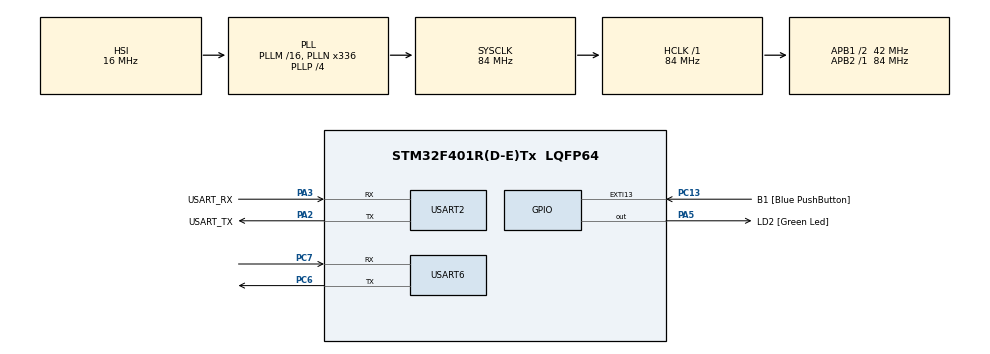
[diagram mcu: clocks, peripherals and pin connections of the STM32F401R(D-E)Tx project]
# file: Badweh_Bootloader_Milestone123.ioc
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Mcu.Family=STM32F4
Mcu.Name=STM32F401R(D-E)Tx
Mcu.Package=LQFP64
NVIC.PriorityGroup=NVIC_PRIORITYGROUP_4
PA13.GPIO_Label=TMS
PA13.Mode=Trace_Asynchronous_SW
PA13.Signal=SYS_JTMS-SWDIO
PA14.GPIO_Label=TCK
PA14.Mode=Trace_Asynchronous_SW
PA14.Signal=SYS_JTCK-SWCLK
PA2.GPIO_Label=USART_TX
PA2.GPIO_Mode=GPIO_MODE_AF_PP
PA2.GPIO_PuPd=GPIO_NOPULL
PA2.GPIO_Speed=GPIO_SPEED_FREQ_LOW
PA2.Mode=Asynchronous
PA2.Signal=USART2_TX
PA3.GPIO_Label=USART_RX
PA3.GPIO_Mode=GPIO_MODE_AF_PP
PA3.GPIO_PuPd=GPIO_NOPULL
PA3.GPIO_Speed=GPIO_SPEED_FREQ_LOW
PA3.Mode=Asynchronous
PA3.Signal=USART2_RX
PA5.GPIO_Label=LD2 [Green Led]
PA5.GPIO_Mode=GPIO_MODE_OUTPUT_PP
PA5.GPIO_PuPd=GPIO_NOPULL
PA5.GPIO_Speed=GPIO_SPEED_FREQ_LOW
PA5.Signal=GPIO_Output
PB3.GPIO_Label=SWO
PB3.Mode=Trace_Asynchronous_SW
PB3.Signal=SYS_JTDO-SWO
PC13-ANTI_TAMP.GPIO_Label=B1 [Blue PushButton]
PC13-ANTI_TAMP.GPIO_ModeDefaultEXTI=GPIO_MODE_IT_FALLING
PC13-ANTI_TAMP.GPIO_PuPd=GPIO_NOPULL
PC13-ANTI_TAMP.Signal=GPXTI13
PC14-OSC32_IN.Mode=LSE-External-Oscillator
PC14-OSC32_IN.Signal=RCC_OSC32_IN
PC15-OSC32_OUT.Mode=LSE-External-Oscillator
PC15-OSC32_OUT.Signal=RCC_OSC32_OUT
PC6.Mode=Asynchronous
PC6.Signal=USART6_TX
PC7.Mode=Asynchronous
PC7.Signal=USART6_RX
PH0\ -\ OSC_IN.Mode=HSE-External-Clock-Source
PH0\ -\ OSC_IN.Signal=RCC_OSC_IN
PH1\ -\ OSC_OUT.Mode=HSE-External-Clock-Source
PH1\ -\ OSC_OUT.Signal=RCC_OSC_OUT
ProjectManager.HeapSize=0x200
ProjectManager.StackSize=0x400
ProjectManager.TargetToolchain=STM32CubeIDE
RCC.48MHZClocksFreq_Value=48000000
RCC.AHBFreq_Value=84000000
RCC.APB1CLKDivider=RCC_HCLK_DIV2
RCC.APB1Freq_Value=42000000
RCC.APB1TimFreq_Value=84000000
RCC.APB2Freq_Value=84000000
RCC.APB2TimFreq_Value=84000000
RCC.CortexFreq_Value=84000000
RCC.HCLKFreq_Value=84000000
RCC.HSE_VALUE=8000000
RCC.HSI_VALUE=16000000
RCC.PLLN=336
RCC.PLLP=RCC_PLLP_DIV4
RCC.PLLQ=7
RCC.SYSCLKFreq_VALUE=84000000
RCC.SYSCLKSource=RCC_SYSCLKSOURCE_PLLCLK
RCC.VCOOutputFreq_Value=336000000
USART2.VirtualMode=VM_ASYNC
USART2.WordLength=WORDLENGTH_8B
USART6.VirtualMode=VM_ASYNC
VP_CRC_VS_CRC.Mode=CRC_Activate
board=NUCLEO-F401RE

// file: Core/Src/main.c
/* USER CODE BEGIN Header */
/**
  ******************************************************************************
  * @file           : main.c
  * @brief          : Main program body
  ******************************************************************************
  * @attention
  *
  * Copyright (c) 2026 STMicroelectronics.
  * All rights reserved.
  *
  * This software is licensed under terms that can be found in the LICENSE file
  * in the root directory of this software component.
  * If no LICENSE file comes with this software, it is provided AS-IS.
  *
  ******************************************************************************
  */
/* USER CODE END Header */
#include "main.h"

/* USER CODE BEGIN Includes */
#include <string.h>
#include <stdarg.h>
#include <stdio.h>
/* USER CODE END Includes */

/* USER CODE BEGIN PD */

// UART Handle Aliases (F401RE-specific)
#define C_UART  &huart2   // Command UART (USART2 on PA2/PA3)
#define D_UART  &huart6   // Debug UART (USART6 on PC6/PC7) - F401RE uses USART6, NOT USART3!

/* USER CODE END PD */

CRC_HandleTypeDef hcrc;

UART_HandleTypeDef huart2;
UART_HandleTypeDef huart6;

void SystemClock_Config(void);
static void MX_GPIO_Init(void);
static void MX_USART2_UART_Init(void);
static void MX_USART6_UART_Init(void);
static void MX_CRC_Init(void);

int main(void)
{

  /* MCU Configuration--------------------------------------------------------*/

  /* Reset of all peripherals, Initializes the Flash interface and the Systick. */
  HAL_Init();

  /* Configure the system clock */
  SystemClock_Config();

  /* Initialize all configured peripherals */
  MX_GPIO_Init();
  MX_USART2_UART_Init();
  MX_USART6_UART_Init();
  MX_CRC_Init();
  /* USER CODE BEGIN 2 */

  // Boot decision: Check button state (PC13, active LOW)
  if (HAL_GPIO_ReadPin(B1_GPIO_Port, B1_Pin) == GPIO_PIN_RESET) {
      // Button is pressed → Enter bootloader mode
      printmsg("BL_DEBUG_MSG: Button is pressed.. Going to BL mode\r\n");
      bootloader_uart_read_data();
  } else {
      // Button is NOT pressed → Jump to user application
      printmsg("BL_DEBUG_MSG: Button is not pressed.. Jumping to user app\r\n");
      bootloader_jump_to_user_app();
  }

  /* USER CODE END 2 */

  /* Infinite loop */
  while (1)
  {

  }
}

void SystemClock_Config(void)
{
  RCC_OscInitTypeDef RCC_OscInitStruct = {0};
  RCC_ClkInitTypeDef RCC_ClkInitStruct = {0};

  /** Configure the main internal regulator output voltage
  */
  __HAL_RCC_PWR_CLK_ENABLE();
  __HAL_PWR_VOLTAGESCALING_CONFIG(PWR_REGULATOR_VOLTAGE_SCALE2);

  /** Initializes the RCC Oscillators according to the specified parameters
  * in the RCC_OscInitTypeDef structure.
  */
  RCC_OscInitStruct.OscillatorType = RCC_OSCILLATORTYPE_HSI;
  RCC_OscInitStruct.HSIState = RCC_HSI_ON;
  RCC_OscInitStruct.HSICalibrationValue = RCC_HSICALIBRATION_DEFAULT;
  RCC_OscInitStruct.PLL.PLLState = RCC_PLL_ON;
  RCC_OscInitStruct.PLL.PLLSource = RCC_PLLSOURCE_HSI;
  RCC_OscInitStruct.PLL.PLLM = 16;
  RCC_OscInitStruct.PLL.PLLN = 336;
  RCC_OscInitStruct.PLL.PLLP = RCC_PLLP_DIV4;
  RCC_OscInitStruct.PLL.PLLQ = 7;
  if (HAL_RCC_OscConfig(&RCC_OscInitStruct) != HAL_OK)
  {
    Error_Handler();
  }

  /** Initializes the CPU, AHB and APB buses clocks
  */
  RCC_ClkInitStruct.ClockType = RCC_CLOCKTYPE_HCLK|RCC_CLOCKTYPE_SYSCLK
                              |RCC_CLOCKTYPE_PCLK1|RCC_CLOCKTYPE_PCLK2;
  RCC_ClkInitStruct.SYSCLKSource = RCC_SYSCLKSOURCE_PLLCLK;
  RCC_ClkInitStruct.AHBCLKDivider = RCC_SYSCLK_DIV1;
  RCC_ClkInitStruct.APB1CLKDivider = RCC_HCLK_DIV2;
  RCC_ClkInitStruct.APB2CLKDivider = RCC_HCLK_DIV1;

  if (HAL_RCC_ClockConfig(&RCC_ClkInitStruct, FLASH_LATENCY_2) != HAL_OK)
  {
    Error_Handler();
  }
}

static void MX_CRC_Init(void)
{

  hcrc.Instance = CRC;
  if (HAL_CRC_Init(&hcrc) != HAL_OK)
  {
    Error_Handler();
  }

}

static void MX_USART2_UART_Init(void)
{

  huart2.Instance = USART2;
  huart2.Init.BaudRate = 115200;
  huart2.Init.WordLength = UART_WORDLENGTH_8B;
  huart2.Init.StopBits = UART_STOPBITS_1;
  huart2.Init.Parity = UART_PARITY_NONE;
  huart2.Init.Mode = UART_MODE_TX_RX;
  huart2.Init.HwFlowCtl = UART_HWCONTROL_NONE;
  huart2.Init.OverSampling = UART_OVERSAMPLING_16;
  if (HAL_UART_Init(&huart2) != HAL_OK)
  {
    Error_Handler();
  }

}

static void MX_USART6_UART_Init(void)
{

  huart6.Instance = USART6;
  huart6.Init.BaudRate = 115200;
  huart6.Init.WordLength = UART_WORDLENGTH_8B;
  huart6.Init.StopBits = UART_STOPBITS_1;
  huart6.Init.Parity = UART_PARITY_NONE;
  huart6.Init.Mode = UART_MODE_TX_RX;
  huart6.Init.HwFlowCtl = UART_HWCONTROL_NONE;
  huart6.Init.OverSampling = UART_OVERSAMPLING_16;
  if (HAL_UART_Init(&huart6) != HAL_OK)
  {
    Error_Handler();
  }

}

static void MX_GPIO_Init(void)
{
  GPIO_InitTypeDef GPIO_InitStruct = {0};

  /* GPIO Ports Clock Enable */
  __HAL_RCC_GPIOC_CLK_ENABLE();
  __HAL_RCC_GPIOH_CLK_ENABLE();
  __HAL_RCC_GPIOA_CLK_ENABLE();
  __HAL_RCC_GPIOB_CLK_ENABLE();

  /*Configure GPIO pin Output Level */
  HAL_GPIO_WritePin(LD2_GPIO_Port, LD2_Pin, GPIO_PIN_RESET);

  /*Configure GPIO pin : B1_Pin */
  GPIO_InitStruct.Pin = B1_Pin;
  GPIO_InitStruct.Mode = GPIO_MODE_IT_FALLING;
  GPIO_InitStruct.Pull = GPIO_NOPULL;
  HAL_GPIO_Init(B1_GPIO_Port, &GPIO_InitStruct);

  /*Configure GPIO pin : LD2_Pin */
  GPIO_InitStruct.Pin = LD2_Pin;
  GPIO_InitStruct.Mode = GPIO_MODE_OUTPUT_PP;
  GPIO_InitStruct.Pull = GPIO_NOPULL;
  GPIO_InitStruct.Speed = GPIO_SPEED_FREQ_LOW;
  HAL_GPIO_Init(LD2_GPIO_Port, &GPIO_InitStruct);

}

/* USER CODE BEGIN 4 */

// ============================================================================
// 1. Debug Print Function
// ============================================================================
void printmsg(char *format, ...)
{
#ifdef BL_DEBUG_MSG_EN
    char str[80];
    va_list args;
    va_start(args, format);
    vsprintf(str, format, args);
    HAL_UART_Transmit(D_UART, (uint8_t *)str, strlen(str), HAL_MAX_DELAY);
    va_end(args);
#endif
}

// ============================================================================
// 2. Bootloader Jump to User Application (Milestone 3 — Lesson 043)
// ============================================================================
void bootloader_jump_to_user_app(void)
{
    // Function pointer to hold reset handler address
    void (*app_reset_handler)(void);

    printmsg("BL_DEBUG_MSG: bootloader_jump_to_user_app\r\n");

    // 1. Read the MSP value from the base address of user application (sector 2)
    uint32_t msp_value = *(volatile uint32_t *)FLASH_SECTOR2_BASE_ADDRESS;

    printmsg("BL_DEBUG_MSG: MSP value: %#x\r\n", msp_value);

    // 2. Set the MSP (Main Stack Pointer) to the value read from user app
    __set_MSP(msp_value);

    // 3. Read the reset handler address from user app (base + 4)
    uint32_t resethandler_address = *(volatile uint32_t *)(FLASH_SECTOR2_BASE_ADDRESS + 4);

    app_reset_handler = (void*) resethandler_address;

    printmsg("BL_DEBUG_MSG: App reset handler addr: %#x\r\n", resethandler_address);

    // 4. Jump to user application reset handler (this never returns)
    app_reset_handler();
}

// ============================================================================
// 3. Bootloader UART Read Data (Stub — Command handling added in Milestone 4+)
// ============================================================================
void bootloader_uart_read_data(void)
{
    printmsg("BL_DEBUG_MSG: Bootloader mode entered.\r\n");
    printmsg("BL_DEBUG_MSG: Waiting for commands...\r\n");

    while(1)
    {
        // Command handling not yet implemented
        // (Milestone 4+ will add command framework here)
    }
}

/* USER CODE END 4 */

void Error_Handler(void)
{
  __disable_irq();
  while (1)
  {
  }
}
